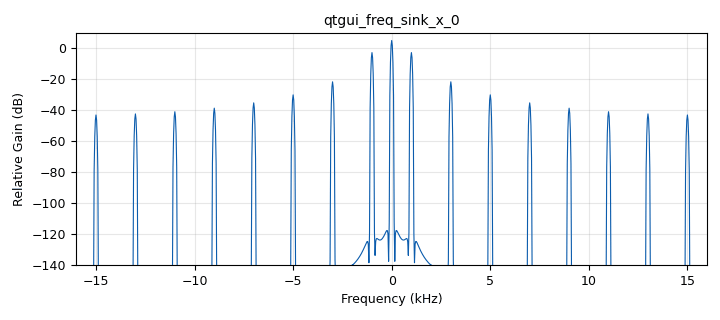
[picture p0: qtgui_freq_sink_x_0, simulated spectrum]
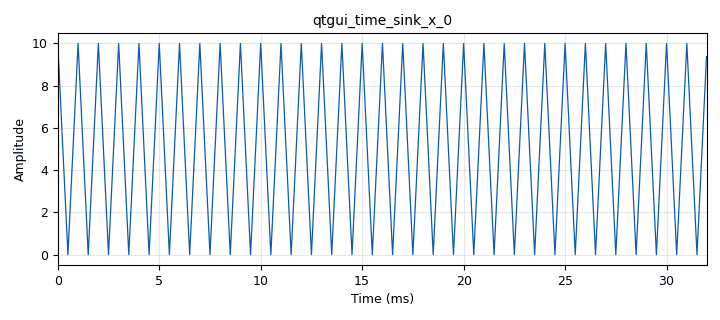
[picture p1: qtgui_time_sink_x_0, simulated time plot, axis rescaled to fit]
options:
  parameters:
    author: J1A grupo 2
    generate_options: qt_gui
    id: calculopotencia
    output_language: python
    title: Calculo potencia
  states: {}

blocks:
- name: amplitud
  id: variable_qtgui_range
  parameters:
    label: amplitud
    start: '0'
    step: '1'
    stop: '100'
    value: '10'
  states: {}
- name: samp_rate
  id: variable
  parameters:
    value: '32000'
  states: {}
- name: analog_sig_source_x_0
  id: analog_sig_source_x
  parameters:
    amp: amplitud
    freq: '1000'
    offset: '0'
    phase: '0'
    samp_rate: samp_rate
    type: float
    waveform: analog.GR_TRI_WAVE
  states: {}
- name: calculoPotencia_0
  id: calculoPotencia
  parameters:
    l_vect: '1024'
  states: {}
- name: qtgui_freq_sink_x_0
  id: qtgui_freq_sink_x
  parameters:
    bw: samp_rate
    fc: '0'
    fftsize: '1024'
    type: float
  states: {}
- name: qtgui_time_sink_x_0
  id: qtgui_time_sink_x
  parameters:
    size: '1024'
    srate: samp_rate
    type: float
  states: {}

connections:
- [analog_sig_source_x_0, '0', calculoPotencia_0, '0']
- [analog_sig_source_x_0, '0', qtgui_freq_sink_x_0, '0']
- [analog_sig_source_x_0, '0', qtgui_time_sink_x_0, '0']

metadata:
  file_format: 1
